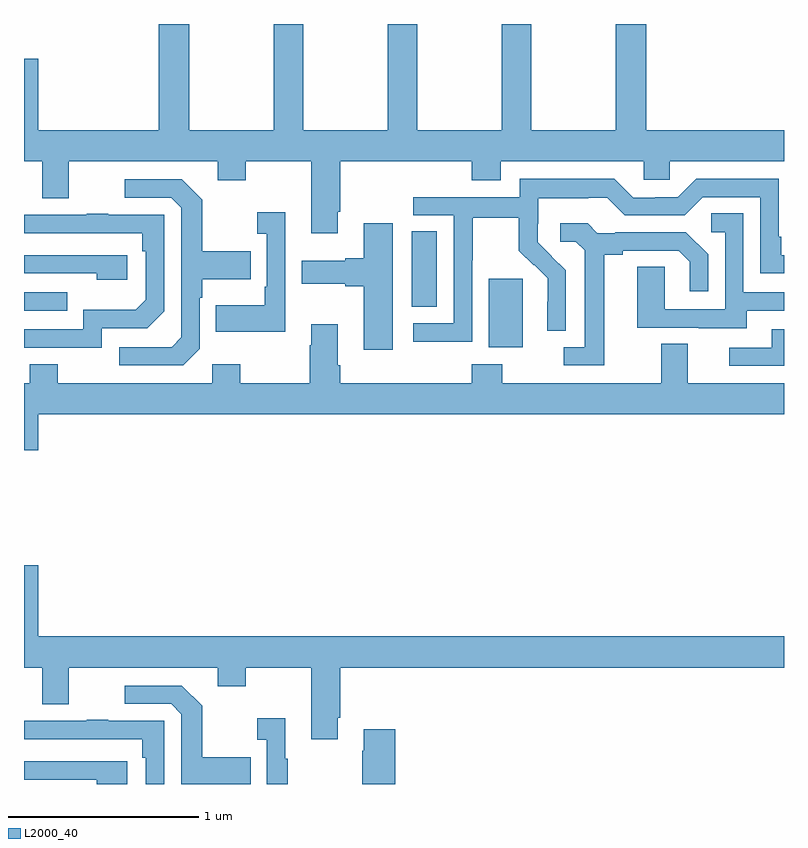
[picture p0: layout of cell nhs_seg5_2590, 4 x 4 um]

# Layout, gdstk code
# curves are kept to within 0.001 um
import gdstk
lib = gdstk.Library(unit=1e-6, precision=1e-09)
def R(c, l, rs):  # rectangles x0, y0, x1, y1
    for r in rs: c.add(gdstk.rectangle(r[:2], r[2:], *l))
def P(c, l, *ps):  # polygons
    for p in ps: c.add(gdstk.Polygon(p, *l))
L2000_40 = (2000, 40)

nhs_seg5_2590 = lib.new_cell('nhs_seg5_2590')
R(nhs_seg5_2590, L2000_40, [(263.447,873.098,263.626,873.459), (261,873.291,261.227,873.387), (263.042,873.31,263.173,873.707)])
P(nhs_seg5_2590, L2000_40, [(261.71,874.799),(261.71,874.24),(261.076,874.24),(261.076,874.615),(261,874.615),(261,874.076),(261.095,874.076),(261.095,873.882),(261.235,873.882),(261.235,874.076),(262.019,874.076),(262.019,873.977),(262.167,873.977),(262.167,874.076),(262.511,874.076),(262.511,873.699),(262.651,873.699),(262.651,873.811),(262.664,873.811),(262.664,874.076),(263.357,874.076),(263.357,873.977),(263.509,873.977),(263.509,874.076),(264.261,874.076),(264.261,873.978),(264.399,873.978),(264.399,874.076),(265,874.076),(265,874.24),(264.275,874.24),(264.275,874.799),(264.115,874.799),(264.115,874.24),(263.67,874.24),(263.67,874.799),(263.515,874.799),(263.515,874.24),(263.07,874.24),(263.07,874.799),(262.915,874.799),(262.915,874.24),(262.47,874.24),(262.47,874.799),(262.315,874.799),(262.315,874.24),(261.87,874.24),(261.87,874.799)],
  [(263.358,873.556),(263.361,873.556),(263.361,873.78),(263.605,873.78),(263.605,873.605),(263.682,873.528),(263.685,873.531),(263.756,873.461),(263.756,873.338),(263.754,873.338),(263.754,873.184),(263.85,873.184),(263.85,873.502),(263.704,873.65),(263.704,873.747),(263.706,873.747),(263.706,873.881),(263.969,873.881),(263.969,873.885),(264.069,873.885),(264.162,873.792),(264.477,873.792),(264.573,873.888),(264.876,873.888),(264.876,873.486),(265,873.486),(265,873.582),(264.985,873.582),(264.985,873.679),(264.972,873.679),(264.972,873.984),(264.537,873.984),(264.441,873.888),(264.323,873.888),(264.323,873.885),(264.207,873.885),(264.107,873.985),(263.61,873.985),(263.61,873.888),(263.049,873.888),(263.049,873.792),(263.262,873.792),(263.262,873.225),(263.049,873.225),(263.049,873.127),(263.358,873.127)],
  [(261.924,873.09),(261.924,873.359),(261.937,873.359),(261.937,873.455),(262.193,873.455),(262.193,873.603),(261.937,873.603),(261.937,873.875),(261.831,873.981),(261.531,873.981),(261.531,873.885),(261.774,873.885),(261.828,873.831),(261.828,873.15),(261.777,873.099),(261.501,873.099),(261.501,873.003),(261.837,873.003)],
  [(262.374,873.808),(262.227,873.808),(262.227,873.695),(262.278,873.695),(262.278,873.415),(262.266,873.415),(262.266,873.319),(262.009,873.319),(262.009,873.179),(262.374,873.179)],
  [(264.805,873.291),(265,873.291),(265,873.387),(264.786,873.387),(264.786,873.803),(264.618,873.803),(264.618,873.702),(264.69,873.702),(264.69,873.297),(264.372,873.297),(264.372,873.521),(264.227,873.521),(264.227,873.201),(264.551,873.201),(264.551,873.197),(264.805,873.197)],
  [(261.408,873.198),(261.648,873.198),(261.738,873.288),(261.738,873.795),(261.443,873.795),(261.443,873.8),(261.331,873.8),(261.331,873.795),(261,873.795),(261,873.699),(261.622,873.699),(261.622,873.602),(261.642,873.602),(261.642,873.348),(261.589,873.295),(261.312,873.295),(261.312,873.192),(261,873.192),(261,873.096),(261.408,873.096)],
  [(264.055,873.584),(264.151,873.584),(264.151,873.606),(264.446,873.606),(264.503,873.549),(264.503,873.393),(264.6,873.393),(264.6,873.586),(264.484,873.702),(264.112,873.702),(264.112,873.699),(264.018,873.699),(263.966,873.751),(263.823,873.751),(263.823,873.654),(263.904,873.654),(263.951,873.607),(263.951,873.099),(263.841,873.099),(263.841,873.003),(264.055,873.003)],
  [(262.942,873.751),(262.787,873.751),(262.787,873.566),(262.691,873.566),(262.691,873.553),(262.461,873.553),(262.461,873.431),(262.691,873.431),(262.691,873.419),(262.787,873.419),(262.787,873.084),(262.942,873.084)],
  [(261.544,873.582),(261,873.582),(261,873.486),(261.383,873.486),(261.383,873.452),(261.544,873.452)],
  [(261.076,872.744),(265,872.744),(265,872.908),(264.493,872.908),(264.493,873.116),(264.353,873.116),(264.353,872.908),(263.517,872.908),(263.517,873.007),(263.357,873.007),(263.357,872.908),(262.664,872.908),(262.664,873.004),(262.651,873.004),(262.651,873.22),(262.511,873.22),(262.511,873.107),(262.504,873.107),(262.504,872.908),(262.137,872.908),(262.137,873.007),(261.99,873.007),(261.99,872.908),(261.177,872.908),(261.177,873.007),(261.029,873.007),(261.029,872.908),(261,872.908),(261,872.556),(261.076,872.556)],
  [(265,873.192),(264.935,873.192),(264.935,873.096),(264.711,873.096),(264.711,873),(265,873)],
  [(262.651,871.147),(262.664,871.147),(262.664,871.412),(265,871.412),(265,871.576),(261.076,871.576),(261.076,871.951),(261,871.951),(261,871.412),(261.095,871.412),(261.095,871.218),(261.235,871.218),(261.235,871.412),(262.019,871.412),(262.019,871.313),(262.167,871.313),(262.167,871.412),(262.511,871.412),(262.511,871.035),(262.651,871.035)],
  [(262.193,870.939),(261.937,870.939),(261.937,871.211),(261.831,871.317),(261.531,871.317),(261.531,871.221),(261.774,871.221),(261.828,871.167),(261.828,870.799),(262.193,870.799)],
  [(262.387,870.931),(262.375,870.931),(262.375,871.144),(262.227,871.144),(262.227,871.031),(262.278,871.031),(262.278,870.799),(262.387,870.799)],
  [(261.738,871.131),(261.443,871.131),(261.443,871.136),(261.331,871.136),(261.331,871.131),(261,871.131),(261,871.035),(261.622,871.035),(261.622,870.938),(261.642,870.938),(261.642,870.799),(261.738,870.799)],
  [(262.955,871.087),(262.787,871.087),(262.787,870.974),(262.78,870.974),(262.78,870.799),(262.955,870.799)],
  [(261.544,870.918),(261,870.918),(261,870.822),(261.383,870.822),(261.383,870.799),(261.544,870.799)])

lib.write_gds('nhs_seg5_2590.gds')
